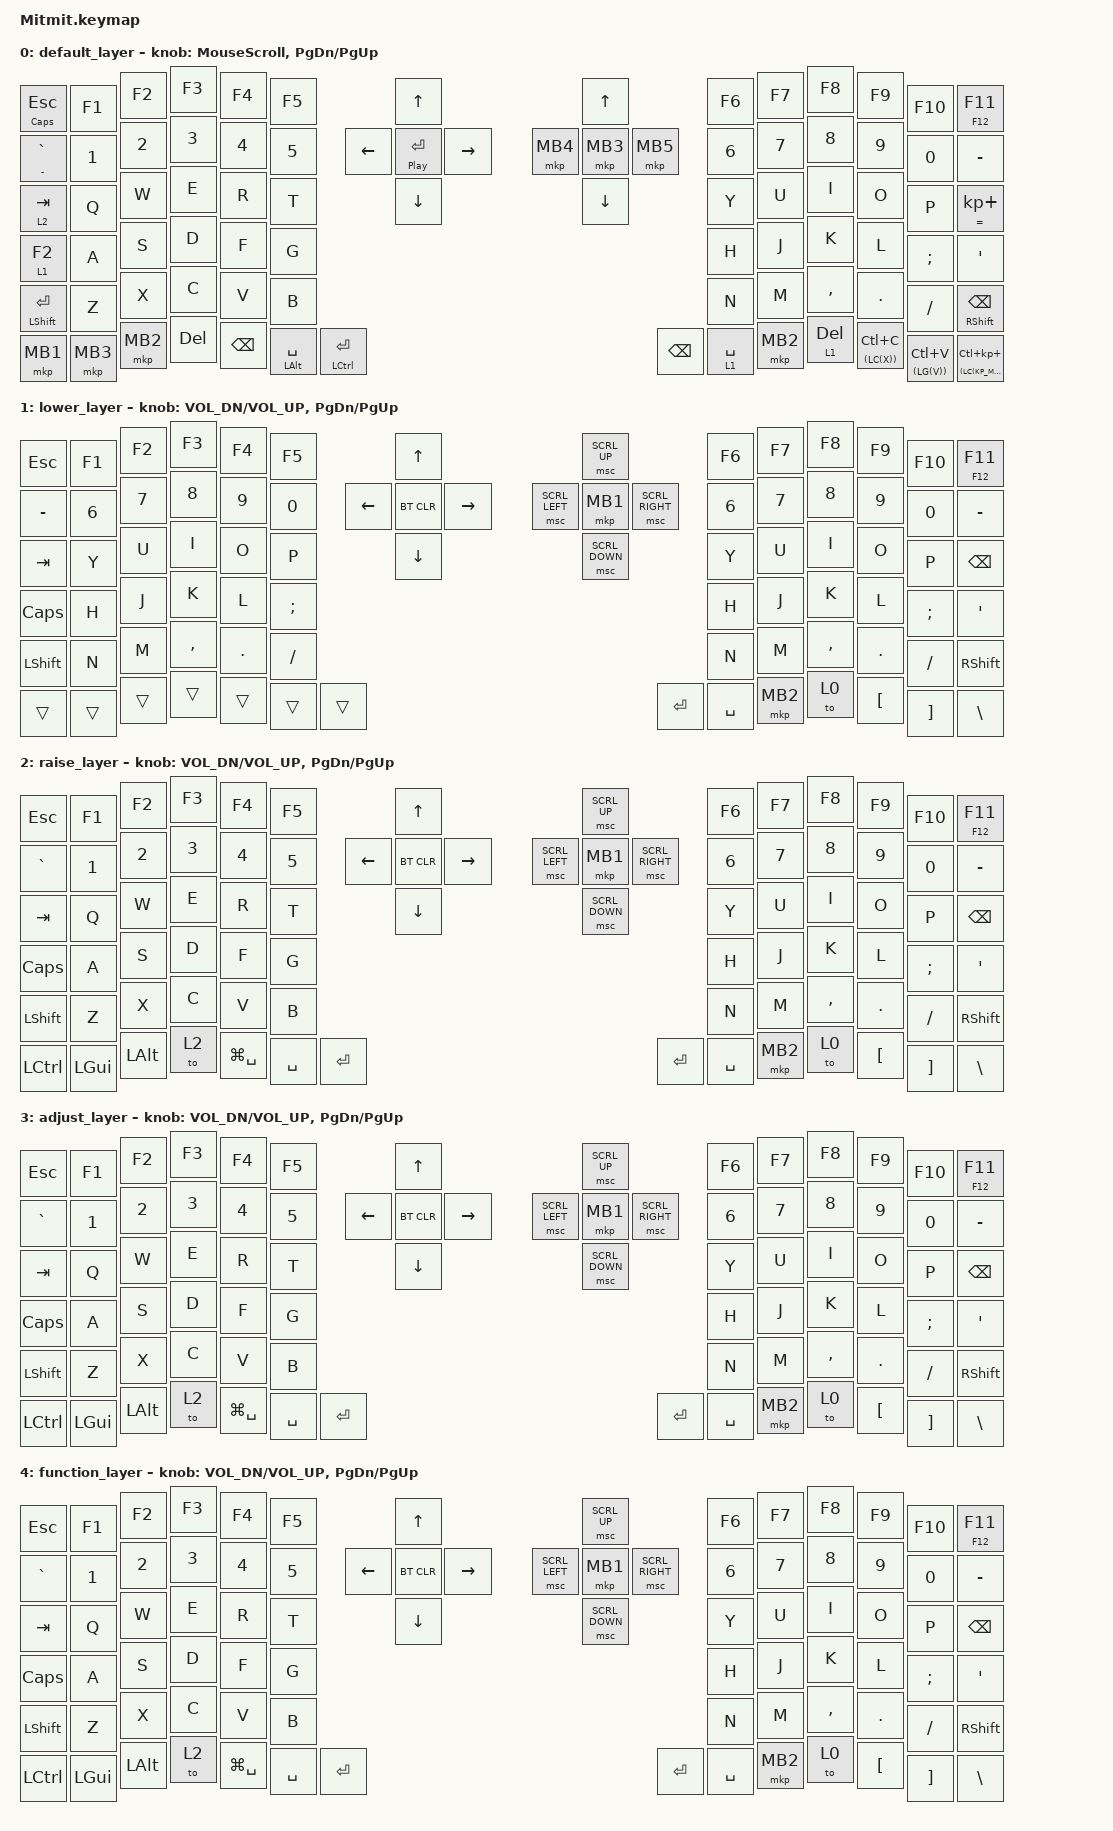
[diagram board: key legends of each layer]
/*
 * Copyright (c) 2020 The ZMK Contributors
 *
 * SPDX-License-Identifier: MIT
 */

#include <input/processors.dtsi>
#include <zephyr/dt-bindings/input/input-event-codes.h>
#include <dt-bindings/zmk/mouse.h>
#include <behaviors/mouse_keys.dtsi>
#include <behaviors.dtsi>
#include <dt-bindings/zmk/bt.h>
#include <dt-bindings/zmk/keys.h>
#include <dt-bindings/zmk/pointing.h>

#define DEFAULT 0
#define LOWER  1
#define RAISE  2
#define ADJUST 3
#define FUNCTION 4

/* NOTE: At the time of the creation of this keymap, there are no specified codes for 'eisuu' and 'kana' input in ZMK.
However, 'LANG1' and 'LANG2' are fully-functioning candidates for 'kana' and 'eisuu' input respectively.
As such, those are in use within the default layer at this time.*/

&mmv_input_listener { input-processors = <&zip_xy_scaler 2 1>; };

&msc_input_listener { input-processors = <&zip_scroll_scaler 2 1>; };

&msc {
    acceleration-exponent = <1>;      // 0
    time-to-max-speed-ms = <100>;       // 300
    delay-ms = <0>;                   // 0
};

&mmv {
    time-to-max-speed-ms = <500>;
    acceleration-exponent = <1>;
    trigger-period-ms = <16>;
};

&soft_off {
    hold-time-ms = <3000>; // Only turn off it the key is held for 3 seconds or longer.
};

&mt {
    tapping-term-ms = <300>;
    flavor = "tap-preferred";
};

#define ZMK_POINTING_DEFAULT_SCRL_VAL 500   // mouse scroll sensitive

/ {
    behaviors {
        MouseScroll: MouseScroll {
            compatible = "zmk,behavior-sensor-rotate";
            label = "MOUSESCROLL";
            #sensor-binding-cells = <0>;
            bindings = <&msc SCRL_DOWN>, <&msc SCRL_UP>;

            tap-ms = <20>;
        };
    };

    combos {
        compatible = "zmk,combos";

        screenshot {
            bindings = <&kp PAUSE_BREAK>;
            key-positions = <5 1>;
        };

        dot {
            bindings = <&kp DOT>;
            key-positions = <31 32>;
        };

        comma {
            bindings = <&kp COMMA>;
            key-positions = <30 31>;
        };

        lpar {
            bindings = <&kp LPAR>;
            key-positions = <44 45>;
        };

        rpar {
            bindings = <&kp RPAR>;
            key-positions = <45 46>;
        };

        equal {
            bindings = <&kp EQUAL>;
            key-positions = <32 33>;
        };

        bootloadL {
            bindings = <&bootloader>;
            key-positions = <0 76>;
        };

        bootloadR {
            bindings = <&bootloader>;
            key-positions = <13 77>;
        };

        gmail1609 {
            bindings = <&gmail1>;
            key-positions = <1 2>;
        };
    };

    macros {
        stktech: stktech {
            compatible = "zmk,behavior-macro";
            #binding-cells = <0>;
            bindings = <&kp N9 &kp N9 &kp N9 &kp N9 &kp N0 &kp N0 &kp N1 &kp N1 &kp N9 &kp N4>;
            label = "STKTECH";
        };

        gmail1: gmail {
            compatible = "zmk,behavior-macro";
            #binding-cells = <0>;
            bindings = <&kp N1 &kp N6 &kp N0 &kp N9 &kp H &kp A &kp AT &kp G &kp M &kp A &kp I &kp L &kp DOT &kp C &kp O &kp M>;
            label = "GMAIL";
        };
    };

    keymap {
        compatible = "zmk,keymap";

        default_layer {
            bindings = <
&mt CAPS ESC     &kp F1    &kp F2    &kp F3   &kp F4    &kp F5              &kp UP                  &kp UP         &kp F6       &kp F7    &kp F8     &kp F9             &kp F10            &mt F12 F11
&mt MINUS GRAVE  &kp N1    &kp N2    &kp N3   &kp N4    &kp N5              &kp RIGHT               &mkp MB4       &kp N6       &kp N7    &kp N8     &kp N9             &kp N0             &kp MINUS
&lt 2 TAB        &kp Q     &kp W     &kp E    &kp R     &kp T               &mt C_PLAY_PAUSE ENTER  &mkp MB3       &kp Y        &kp U     &kp I      &kp O              &kp P              &mt EQUAL KP_PLUS
&lt 1 F2         &kp A     &kp S     &kp D    &kp F     &kp G               &kp LEFT                &mkp MB5       &kp H        &kp J     &kp K      &kp L              &kp SEMI           &kp APOS
&mt LSHFT ENTER  &kp Z     &kp X     &kp C    &kp V     &kp B               &kp DOWN                &kp DOWN       &kp N        &kp M     &kp COMMA  &kp DOT            &kp FSLH           &mt RSHIFT BACKSPACE
&mkp MB1         &mkp MB3  &mkp MB2  &kp DEL  &kp BSPC  &mt LEFT_ALT SPACE  &mt LCTRL ENTER         &kp BACKSPACE  &lt 1 SPACE  &mkp MB2  &lt 1 DEL  &mt (LC(X)) LC(C)  &mt (LG(V)) LC(V)  &mt (LC(KP_MINUS)) LC(KP_PLUS)
            >;

            sensor-bindings = <&MouseScroll &inc_dec_kp PG_DN PG_UP>;
        };

        lower_layer {
            bindings = <
&kp ESC    &kp F1  &kp F2  &kp F3     &kp F4   &kp F5    &kp UP      &msc SCRL_UP     &kp F6     &kp F7    &kp F8     &kp F9    &kp F10   &mt F12 F11
&kp MINUS  &kp N6  &kp N7  &kp N8     &kp N9   &kp N0    &kp RIGHT   &msc SCRL_LEFT   &kp N6     &kp N7    &kp N8     &kp N9    &kp N0    &kp MINUS
&kp TAB    &kp Y   &kp U   &kp I      &kp O    &kp P     &bt BT_CLR  &mkp MB1         &kp Y      &kp U     &kp I      &kp O     &kp P     &kp BSPC
&kp CAPS   &kp H   &kp J   &kp K      &kp L    &kp SEMI  &kp LEFT    &msc SCRL_RIGHT  &kp H      &kp J     &kp K      &kp L     &kp SEMI  &kp APOS
&kp LSHFT  &kp N   &kp M   &kp COMMA  &kp DOT  &kp FSLH  &kp DOWN    &msc SCRL_DOWN   &kp N      &kp M     &kp COMMA  &kp DOT   &kp FSLH  &kp RSHFT
&trans     &trans  &trans  &trans     &trans   &trans    &trans      &kp ENTER        &kp SPACE  &mkp MB2  &to 0      &kp LBKT  &kp RBKT  &kp BSLH
            >;

            sensor-bindings = <&inc_dec_kp C_VOL_DN C_VOL_UP &inc_dec_kp PG_DN PG_UP>;
        };

        raise_layer {
            bindings = <
&kp ESC    &kp F1    &kp F2    &kp F3  &kp F4         &kp F5     &kp UP      &msc SCRL_UP     &kp F6     &kp F7    &kp F8     &kp F9    &kp F10   &mt F12 F11
&kp GRAVE  &kp N1    &kp N2    &kp N3  &kp N4         &kp N5     &kp RIGHT   &msc SCRL_LEFT   &kp N6     &kp N7    &kp N8     &kp N9    &kp N0    &kp MINUS
&kp TAB    &kp Q     &kp W     &kp E   &kp R          &kp T      &bt BT_CLR  &mkp MB1         &kp Y      &kp U     &kp I      &kp O     &kp P     &kp BSPC
&kp CAPS   &kp A     &kp S     &kp D   &kp F          &kp G      &kp LEFT    &msc SCRL_RIGHT  &kp H      &kp J     &kp K      &kp L     &kp SEMI  &kp APOS
&kp LSHFT  &kp Z     &kp X     &kp C   &kp V          &kp B      &kp DOWN    &msc SCRL_DOWN   &kp N      &kp M     &kp COMMA  &kp DOT   &kp FSLH  &kp RSHFT
&kp LCTRL  &kp LGUI  &kp LALT  &to 2   &kp LG(SPACE)  &kp SPACE  &kp ENTER   &kp ENTER        &kp SPACE  &mkp MB2  &to 0      &kp LBKT  &kp RBKT  &kp BSLH
            >;

            sensor-bindings = <&inc_dec_kp C_VOL_DN C_VOL_UP &inc_dec_kp PG_DN PG_UP>;
        };

        adjust_layer {
            bindings = <
&kp ESC    &kp F1    &kp F2    &kp F3  &kp F4         &kp F5     &kp UP      &msc SCRL_UP     &kp F6     &kp F7    &kp F8     &kp F9    &kp F10   &mt F12 F11
&kp GRAVE  &kp N1    &kp N2    &kp N3  &kp N4         &kp N5     &kp RIGHT   &msc SCRL_LEFT   &kp N6     &kp N7    &kp N8     &kp N9    &kp N0    &kp MINUS
&kp TAB    &kp Q     &kp W     &kp E   &kp R          &kp T      &bt BT_CLR  &mkp MB1         &kp Y      &kp U     &kp I      &kp O     &kp P     &kp BSPC
&kp CAPS   &kp A     &kp S     &kp D   &kp F          &kp G      &kp LEFT    &msc SCRL_RIGHT  &kp H      &kp J     &kp K      &kp L     &kp SEMI  &kp APOS
&kp LSHFT  &kp Z     &kp X     &kp C   &kp V          &kp B      &kp DOWN    &msc SCRL_DOWN   &kp N      &kp M     &kp COMMA  &kp DOT   &kp FSLH  &kp RSHFT
&kp LCTRL  &kp LGUI  &kp LALT  &to 2   &kp LG(SPACE)  &kp SPACE  &kp ENTER   &kp ENTER        &kp SPACE  &mkp MB2  &to 0      &kp LBKT  &kp RBKT  &kp BSLH
            >;

            sensor-bindings = <&inc_dec_kp C_VOL_DN C_VOL_UP &inc_dec_kp PG_DN PG_UP>;
        };

        function_layer {
            bindings = <
&kp ESC    &kp F1    &kp F2    &kp F3  &kp F4         &kp F5     &kp UP      &msc SCRL_UP     &kp F6     &kp F7    &kp F8     &kp F9    &kp F10   &mt F12 F11
&kp GRAVE  &kp N1    &kp N2    &kp N3  &kp N4         &kp N5     &kp RIGHT   &msc SCRL_LEFT   &kp N6     &kp N7    &kp N8     &kp N9    &kp N0    &kp MINUS
&kp TAB    &kp Q     &kp W     &kp E   &kp R          &kp T      &bt BT_CLR  &mkp MB1         &kp Y      &kp U     &kp I      &kp O     &kp P     &kp BSPC
&kp CAPS   &kp A     &kp S     &kp D   &kp F          &kp G      &kp LEFT    &msc SCRL_RIGHT  &kp H      &kp J     &kp K      &kp L     &kp SEMI  &kp APOS
&kp LSHFT  &kp Z     &kp X     &kp C   &kp V          &kp B      &kp DOWN    &msc SCRL_DOWN   &kp N      &kp M     &kp COMMA  &kp DOT   &kp FSLH  &kp RSHFT
&kp LCTRL  &kp LGUI  &kp LALT  &to 2   &kp LG(SPACE)  &kp SPACE  &kp ENTER   &kp ENTER        &kp SPACE  &mkp MB2  &to 0      &kp LBKT  &kp RBKT  &kp BSLH
            >;

            sensor-bindings = <&inc_dec_kp C_VOL_DN C_VOL_UP &inc_dec_kp PG_DN PG_UP>;
        };
    };
};
